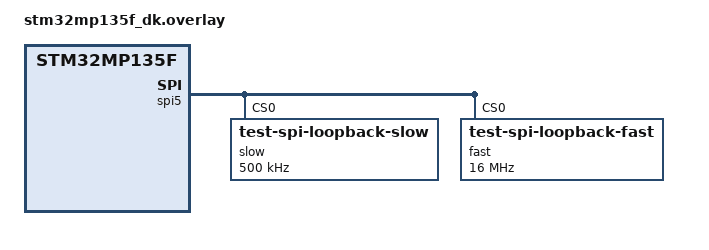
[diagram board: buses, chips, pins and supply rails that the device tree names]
/*
 * Copyright (c) 2026 Gregory Planchon <gregory.planchon@st.com>
 *
 * SPDX-License-Identifier: Apache-2.0
 */

&spi5 {
	slow@0 {
		compatible = "test-spi-loopback-slow";
		reg = <0>;
		spi-max-frequency = <500000>;
	};

	fast@0 {
		compatible = "test-spi-loopback-fast";
		reg = <0>;
		spi-max-frequency = <16000000>;
	};
};
